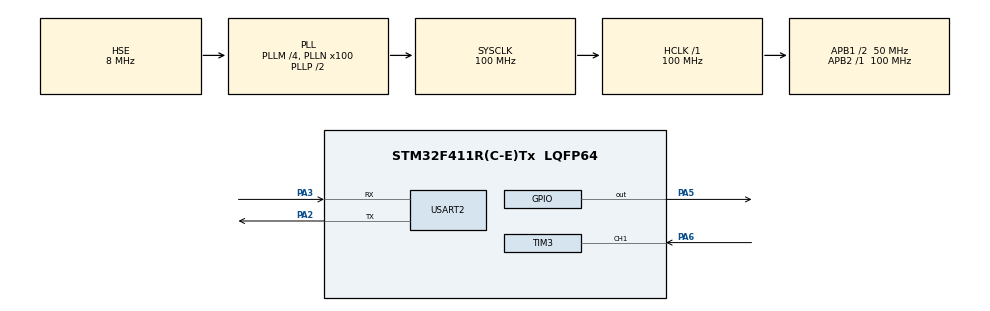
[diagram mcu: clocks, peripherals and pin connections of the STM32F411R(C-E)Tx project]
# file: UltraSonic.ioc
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Mcu.Family=STM32F4
Mcu.Name=STM32F411R(C-E)Tx
Mcu.Package=LQFP64
NVIC.PriorityGroup=NVIC_PRIORITYGROUP_4
NVIC.TIM3_IRQn=true\:0\:0\:false\:false\:true\:true\:true\:true
NVIC.USART2_IRQn=true\:0\:0\:false\:false\:true\:true\:true\:true
PA13.Mode=Serial_Wire
PA13.Signal=SYS_JTMS-SWDIO
PA14.Mode=Serial_Wire
PA14.Signal=SYS_JTCK-SWCLK
PA2.Mode=Asynchronous
PA2.Signal=USART2_TX
PA3.Mode=Asynchronous
PA3.Signal=USART2_RX
PA5.Signal=GPIO_Output
PA6.Signal=S_TIM3_CH1
PH0\ -\ OSC_IN.Mode=HSE-External-Oscillator
PH0\ -\ OSC_IN.Signal=RCC_OSC_IN
PH1\ -\ OSC_OUT.Mode=HSE-External-Oscillator
PH1\ -\ OSC_OUT.Signal=RCC_OSC_OUT
ProjectManager.HeapSize=0x200
ProjectManager.StackSize=0x400
ProjectManager.TargetToolchain=STM32CubeIDE
RCC.48MHZClocksFreq_Value=50000000
RCC.AHBFreq_Value=100000000
RCC.APB1CLKDivider=RCC_HCLK_DIV2
RCC.APB1Freq_Value=50000000
RCC.APB1TimFreq_Value=100000000
RCC.APB2Freq_Value=100000000
RCC.APB2TimFreq_Value=100000000
RCC.CortexFreq_Value=100000000
RCC.HCLKFreq_Value=100000000
RCC.HSE_VALUE=8000000
RCC.HSI_VALUE=16000000
RCC.LSE_VALUE=32768
RCC.PLLM=4
RCC.PLLN=100
RCC.PLLSourceVirtual=RCC_PLLSOURCE_HSE
RCC.SYSCLKFreq_VALUE=100000000
RCC.SYSCLKSource=RCC_SYSCLKSOURCE_PLLCLK
RCC.VCOOutputFreq_Value=200000000
SH.S_TIM3_CH1.0=TIM3_CH1,Input_Capture1_from_TI1
TIM3.Channel-Input_Capture1_from_TI1=TIM_CHANNEL_1
TIM3.Period=65535
TIM3.Prescaler=100-1
USART2.VirtualMode=VM_ASYNC
VP_TIM3_VS_ClockSourceINT.Mode=Internal
board=custom

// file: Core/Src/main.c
/* USER CODE BEGIN Header */
/**
  ******************************************************************************
  * @file           : main.c
  * @brief          : Main program body
  ******************************************************************************
  * @attention
  *
  * Copyright (c) 2023 STMicroelectronics.
  * All rights reserved.
  *
  * This software is licensed under terms that can be found in the LICENSE file
  * in the root directory of this software component.
  * If no LICENSE file comes with this software, it is provided AS-IS.
  *
  ******************************************************************************
  */
/* USER CODE END Header */
#include "main.h"
#include "tim.h"
#include "usart.h"
#include "gpio.h"

/* USER CODE BEGIN Includes */
#include "stdio.h"
#include "delay.h"
/* USER CODE END Includes */

/* USER CODE BEGIN PD */
#define TRIG_PORT   GPIOA
#define TRIG_PIN    GPIO_PIN_5
#ifdef __GNUC__
  /* With GCC, small printf (option LD Linker->Libraries->Small printf
     set to 'Yes') calls __io_putchar() */
  #define PUTCHAR_PROTOTYPE int __io_putchar(int ch)
#else
  #define PUTCHAR_PROTOTYPE int fputc(int ch, FILE *f)
#endif /* __GNUC__ */
PUTCHAR_PROTOTYPE
{
  /* Place your implementation of fputc here */
  /* e.g. write a character to the EVAL_COM1 and Loop until the end of transmission */
  HAL_UART_Transmit(&huart2, (uint8_t *)&ch, 1, 0xFFFF);

  return ch;
}
/* USER CODE END PD */

/* USER CODE BEGIN PV */

uint32_t INC_Value1 = 0;    // input capture value
uint32_t INC_Value2 = 0;
uint32_t echoTime   = 0;    // return time
uint8_t captureFlag = 0;    // capture? nocapture?
uint8_t distance    = 0;    // real distance

/* USER CODE END PV */

void SystemClock_Config(void);
/* USER CODE BEGIN PFP */

void HAL_TIM_IC_CaptureCallback(TIM_HandleTypeDef *htim)
{
  if(htim->Channel == HAL_TIM_ACTIVE_CHANNEL_1)
  {
    if(captureFlag == 0)    // not capture INC_Value1
    {
      INC_Value1 = HAL_TIM_ReadCapturedValue(htim, TIM_CHANNEL_1);
      captureFlag = 1;

      __HAL_TIM_SET_CAPTUREPOLARITY(htim, TIM_CHANNEL_1, TIM_INPUTCHANNELPOLARITY_FALLING);

    }
    else if(captureFlag == 1)   // INC_Value1 captured
    {
      INC_Value2 = HAL_TIM_ReadCapturedValue(htim, TIM_CHANNEL_1);
      __HAL_TIM_SET_COUNTER(htim, 0);   // htim == &htim3 , htim is address

      if(INC_Value2 > INC_Value1)
      {
        echoTime = INC_Value2 - INC_Value1;
      }
      else if(INC_Value1 > INC_Value2)
      {
        echoTime = (0xffff - INC_Value1) + INC_Value2;
      }

      distance = echoTime * .034 / 2;
      //distance = echoTime / 58;         // both equal

      captureFlag = 0;

      __HAL_TIM_SET_CAPTUREPOLARITY(htim, TIM_CHANNEL_1, TIM_INPUTCHANNELPOLARITY_RISING);
      __HAL_TIM_DISABLE_IT(&htim3, TIM_IT_CC1);
    }
  }
}

void HCSR04_Read(void)
{
  HAL_GPIO_WritePin(TRIG_PORT, TRIG_PIN, GPIO_PIN_SET);
  delay_us(10);     // delay 10us
  HAL_GPIO_WritePin(TRIG_PORT, TRIG_PIN, GPIO_PIN_RESET);

  __HAL_TIM_ENABLE_IT(&htim3, TIM_IT_CC1);
}
/* USER CODE END PFP */

int main(void)
{

  /* MCU Configuration--------------------------------------------------------*/

  /* Reset of all peripherals, Initializes the Flash interface and the Systick. */
  HAL_Init();

  /* Configure the system clock */
  SystemClock_Config();

  /* Initialize all configured peripherals */
  MX_GPIO_Init();
  MX_TIM3_Init();
  MX_USART2_UART_Init();
  /* USER CODE BEGIN 2 */

  HAL_TIM_IC_Start_IT(&htim3, TIM_CHANNEL_1);
  /* USER CODE END 2 */

  /* Infinite loop */
  while (1)
  {

    /* USER CODE BEGIN 3 */

    HCSR04_Read();
    printf("%d cm\r\n", distance);
    HAL_Delay(500);
  }
  /* USER CODE END 3 */
}

void SystemClock_Config(void)
{
  RCC_OscInitTypeDef RCC_OscInitStruct = {0};
  RCC_ClkInitTypeDef RCC_ClkInitStruct = {0};

  /** Configure the main internal regulator output voltage
  */
  __HAL_RCC_PWR_CLK_ENABLE();
  __HAL_PWR_VOLTAGESCALING_CONFIG(PWR_REGULATOR_VOLTAGE_SCALE1);

  /** Initializes the RCC Oscillators according to the specified parameters
  * in the RCC_OscInitTypeDef structure.
  */
  RCC_OscInitStruct.OscillatorType = RCC_OSCILLATORTYPE_HSE;
  RCC_OscInitStruct.HSEState = RCC_HSE_ON;
  RCC_OscInitStruct.PLL.PLLState = RCC_PLL_ON;
  RCC_OscInitStruct.PLL.PLLSource = RCC_PLLSOURCE_HSE;
  RCC_OscInitStruct.PLL.PLLM = 4;
  RCC_OscInitStruct.PLL.PLLN = 100;
  RCC_OscInitStruct.PLL.PLLP = RCC_PLLP_DIV2;
  RCC_OscInitStruct.PLL.PLLQ = 4;
  if (HAL_RCC_OscConfig(&RCC_OscInitStruct) != HAL_OK)
  {
    Error_Handler();
  }

  /** Initializes the CPU, AHB and APB buses clocks
  */
  RCC_ClkInitStruct.ClockType = RCC_CLOCKTYPE_HCLK|RCC_CLOCKTYPE_SYSCLK
                              |RCC_CLOCKTYPE_PCLK1|RCC_CLOCKTYPE_PCLK2;
  RCC_ClkInitStruct.SYSCLKSource = RCC_SYSCLKSOURCE_PLLCLK;
  RCC_ClkInitStruct.AHBCLKDivider = RCC_SYSCLK_DIV1;
  RCC_ClkInitStruct.APB1CLKDivider = RCC_HCLK_DIV2;
  RCC_ClkInitStruct.APB2CLKDivider = RCC_HCLK_DIV1;

  if (HAL_RCC_ClockConfig(&RCC_ClkInitStruct, FLASH_LATENCY_3) != HAL_OK)
  {
    Error_Handler();
  }
}

void Error_Handler(void)
{
  __disable_irq();
  while (1)
  {
  }
}
